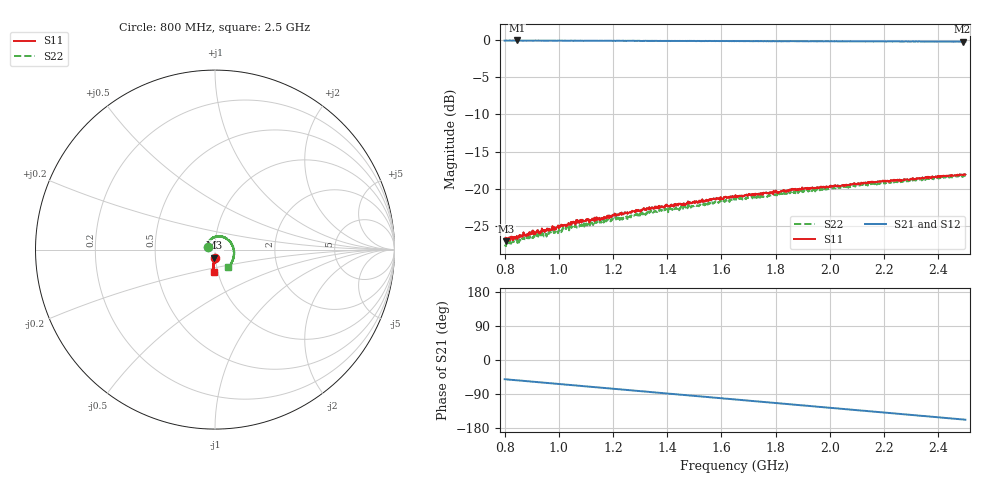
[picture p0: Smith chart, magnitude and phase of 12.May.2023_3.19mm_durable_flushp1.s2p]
!Keysight Technologies N9950B: A.12.38
!Date: Friday, 12 May 2023 16:26:58
!Timezone: (UTC-06:00) Central Time (US & Canada)
!Model: N9950B
!Serial: MY61131330
!GPS Latitude:
!GPS Longitude:
!GPS TimeStamp: 0001-01-01 00:00:00Z
!GPS Seconds Since Last Read: 0
!CHECKSUM:0675397849
!Correction: S11(ON U)S21(ON U)S12(ON U)S22(ON U)
!S2P File: Measurements:S11,S21,S12,S22:
# Hz S DB R 50
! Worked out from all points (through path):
!   1001 points, 800 MHz to 2.5 GHz, reference 50 ohm
!   highest |S21| = -0.06 dB at 845.9 MHz (marker M1); lowest = -0.2 dB at 2.49 GHz (marker M2)
!   group delay of S21, straight-line fit = 174 ps
!   lowest |S11| = -27.0 dB at 806.8 MHz (marker M3), VSWR 1.09, Z = 49.5 - j4.4 ohm
!   |S11| at or under -10 dB: start of sweep to end of sweep
!   |S22| runs from -27.7 to -18.2 dB; largest |S21 - S12| = 0.0058
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8e8  -26.80 -92.8  -0.08 -50.6  -0.08 -50.7  -27.58 159.4
8.068e8  -27.05 -94.0  -0.07 -51.2  -0.08 -51.1  -27.24 158.5
8.34e8  -26.62 -92.1  -0.08 -52.9  -0.07 -52.8  -27.18 156.6
8.459e8  -26.71 -91.6  -0.06 -53.7  -0.09 -53.5  -26.78 154.5
9.054e8  -26.11 -91.9  -0.10 -57.3  -0.09 -57.3  -26.62 148.3
9.292e8  -26.05 -91.9  -0.08 -58.8  -0.09 -58.8  -26.06 144.0
9.513e8  -25.64 -90.7  -0.09 -60.1  -0.08 -60.2  -26.12 141.4
1.0482e9  -24.60 -93.4  -0.08 -66.4  -0.11 -66.3  -25.03 129.4
1.0839e9  -24.55 -92.2  -0.09 -68.6  -0.11 -68.7  -24.93 123.6
1.157e9  -24.00 -92.7  -0.10 -73.2  -0.11 -73.2  -24.54 114.7
1.2199e9  -23.50 -92.1  -0.11 -77.2  -0.12 -77.1  -23.97 107.1
1.3678e9  -22.67 -93.9  -0.13 -86.4  -0.12 -86.4  -23.04 90.4
1.4987e9  -21.72 -94.7  -0.12 -94.6  -0.14 -94.6  -22.33 74.9
1.65e9  -21.11 -94.9  -0.13 -104.1  -0.16 -104.1  -21.40 55.4
1.8132e9  -20.42 -95.1  -0.16 -114.4  -0.16 -114.4  -20.76 34.6
1.8642e9  -20.10 -94.0  -0.16 -117.7  -0.16 -117.6  -20.63 28.2
1.9339e9  -19.88 -95.0  -0.16 -121.9  -0.18 -121.9  -20.33 18.7
2.0495e9  -19.61 -95.7  -0.17 -129.2  -0.17 -129.2  -19.70 4.6
2.2178e9  -18.96 -94.6  -0.20 -139.9  -0.18 -139.7  -19.08 -16.9
2.3419e9  -18.46 -94.2  -0.20 -147.6  -0.20 -147.5  -18.83 -32.2
2.4898e9  -18.15 -92.9  -0.24 -156.8  -0.23 -156.8  -18.42 -51.6
2.5e9  -18.09 -93.5  -0.20 -157.5  -0.23 -157.5  -18.17 -52.7
